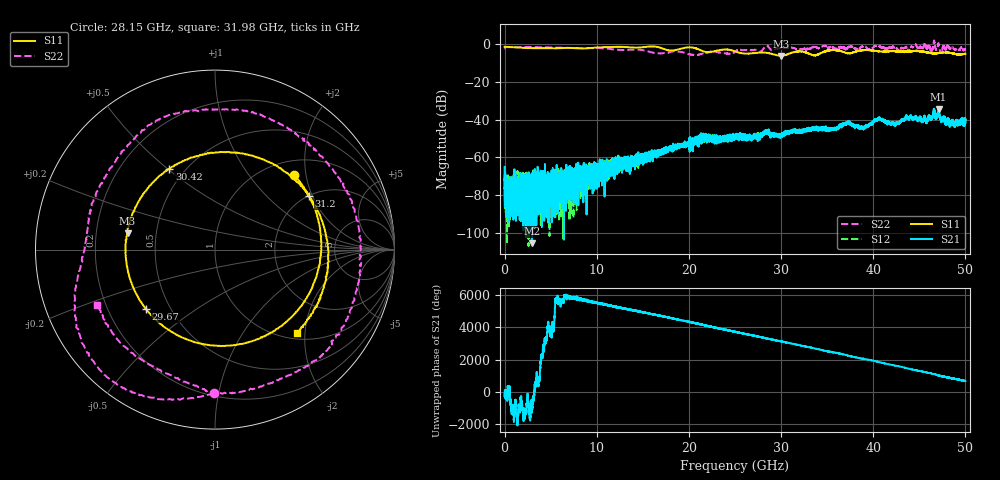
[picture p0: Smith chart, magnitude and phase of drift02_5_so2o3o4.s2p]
!Created with skrf (http://scikit-rf.org).
# Hz S RI R 50.0
!freq ReS11 ImS11 ReS21 ImS21 ReS12 ImS12 ReS22 ImS22
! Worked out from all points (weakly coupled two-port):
!   10001 points, 300 kHz to 50 GHz, reference 50 ohm
!   highest |S21| = -34.37 dB at 47.09 GHz (marker M1); lowest = -105.5 dB at 2.955 GHz (marker M2)
!   lowest |S11| = -6.1 dB at 30.05 GHz (marker M3), VSWR 2.96, Z = 17 + j4.14 ohm
!   |S11| at or under -10 dB: nowhere
!   |S22| runs from -5.7 to 2.1 dB; largest |S21 - S12| = 0.0041
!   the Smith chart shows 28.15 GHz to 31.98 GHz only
!   S11 on the Smith chart (normalised r, x): 28.15 GHz: 1.30, +1.71; 29.67 GHz: 0.37, -0.32; 30.42 GHz: 0.41, +0.51; 31.2 GHz: 2.03, +1.89; 31.98 GHz: 1.13, -1.81
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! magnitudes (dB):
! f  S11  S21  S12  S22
! 300 kHz  -1.3  -65.0  -69.0  -2.0
! 355.3 MHz  -1.4  -82.9  -87.5  -1.4
! 2.955 GHz  -2.0  -105.5  -81.0  -1.4
! 6.5 GHz  -1.9  -76.3  -69.2  -1.8
! 8.335 GHz  -2.2  -67.1  -69.0  -1.9
! 16.67 GHz  -1.5  -58.2  -57.2  -4.8
! 21.51 GHz  -3.6  -49.7  -49.2  -4.8
! 25 GHz  -3.7  -48.4  -49.5  -3.9
! 28.15 GHz  -4.4  -47.1  -46.8  -1.9
! 29.67 GHz  -5.9  -48.6  -48.2  -2.1
! 30.05 GHz  -6.1  -47.8  -47.8  -2.1
! 30.42 GHz  -5.7  -47.5  -47.1  -2.0
! 31.2 GHz  -4.4  -46.0  -45.8  -1.8
! 31.98 GHz  -3.8  -45.7  -46.3  -2.8
! 33.34 GHz  -5.5  -44.7  -44.4  -1.5
! 37.28 GHz  -4.8  -40.8  -41.2  -1.4
! 38.82 GHz  -3.1  -44.3  -44.6  -1.2
! 40.66 GHz  -3.7  -39.4  -39.5  -0.9
! 41.67 GHz  -3.6  -41.6  -41.1  -1.9
! 47.09 GHz  -4.5  -34.4  -35.7  0.6
! 48.58 GHz  -4.8  -41.4  -40.4  -1.5
! 50 GHz  -5.0  -39.6  -41.6  -2.6
